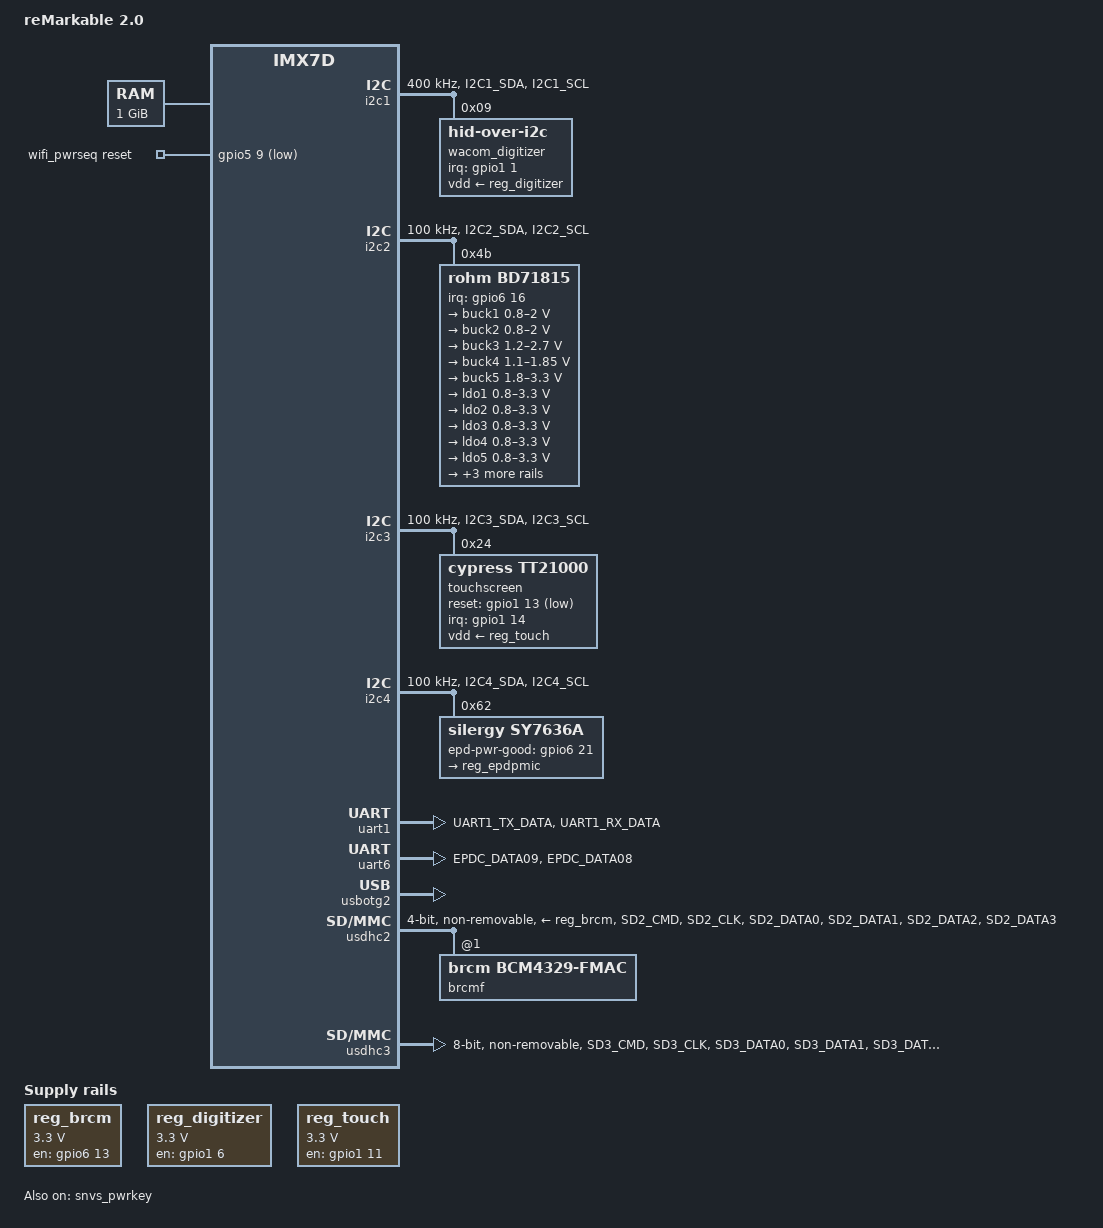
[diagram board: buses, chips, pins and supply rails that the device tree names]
// SPDX-License-Identifier: (GPL-2.0+ OR MIT)
/*
 * Copyright (C) 2015 Freescale Semiconductor, Inc.
 * Copyright (C) 2019 reMarkable AS - http://www.remarkable.com/
 *
 */

/dts-v1/;

#include "imx7d.dtsi"
#include <dt-bindings/input/linux-event-codes.h>

/ {
	model = "reMarkable 2.0";
	compatible = "remarkable,imx7d-remarkable2", "fsl,imx7d";

	chosen {
		stdout-path = &uart6;
	};

	memory@80000000 {
		device_type = "memory";
		reg = <0x80000000 0x40000000>;
	};

	thermal-zones {
		epd-thermal {
			thermal-sensors = <&sy7636a>;
			polling-delay-passive = <30000>;
			polling-delay = <30000>;

			trips {
				trip0 {
					temperature = <49000>;
					hysteresis = <2000>;
					type = "passive";
				};

				trip1 {
					temperature = <50000>;
					hysteresis = <2000>;
					type = "critical";
				};
			};
		};
	};

	reg_brcm: regulator-brcm {
		compatible = "regulator-fixed";
		regulator-name = "brcm_reg";
		regulator-min-microvolt = <3300000>;
		regulator-max-microvolt = <3300000>;
		pinctrl-names = "default";
		pinctrl-0 = <&pinctrl_brcm_reg>;
		gpio = <&gpio6 13 GPIO_ACTIVE_HIGH>;
		enable-active-high;
		startup-delay-us = <150>;
	};

	reg_digitizer: regulator-digitizer {
		compatible = "regulator-fixed";
		regulator-name = "VDD_3V3_DIGITIZER";
		regulator-min-microvolt = <3300000>;
		regulator-max-microvolt = <3300000>;
		pinctrl-names = "default", "sleep";
		pinctrl-0 = <&pinctrl_digitizer_reg>;
		pinctrl-1 = <&pinctrl_digitizer_reg>;
		gpio = <&gpio1 6 GPIO_ACTIVE_HIGH>;
		enable-active-high;
		startup-delay-us = <100000>; /* 100 ms */
	};

	reg_touch: regulator-touch {
		compatible = "regulator-fixed";
		regulator-name = "VDD_3V3_TOUCH";
		regulator-min-microvolt = <3300000>;
		regulator-max-microvolt = <3300000>;
		pinctrl-names = "default";
		pinctrl-0 = <&pinctrl_touch_reg>;
		gpio = <&gpio1 11 GPIO_ACTIVE_HIGH>;
		enable-active-high;
	};

	wifi_pwrseq: wifi_pwrseq {
		compatible = "mmc-pwrseq-simple";
		pinctrl-names = "default";
		pinctrl-0 = <&pinctrl_wifi>;
		reset-gpios = <&gpio5 9 GPIO_ACTIVE_LOW>;
		clocks = <&clks IMX7D_CLKO2_ROOT_DIV>;
		clock-names = "ext_clock";
	};
};

&cpu0 {
	cpu-supply = <&buck1>;
};

&clks {
	assigned-clocks = <&clks IMX7D_CLKO2_ROOT_SRC>,
			  <&clks IMX7D_CLKO2_ROOT_DIV>;
	assigned-clock-parents = <&clks IMX7D_CKIL>;
	assigned-clock-rates = <0>, <32768>;
};

&i2c1 {
	clock-frequency = <400000>;
	pinctrl-names = "default";
	pinctrl-0 = <&pinctrl_i2c1>;
	status = "okay";

	wacom_digitizer: digitizer@9 {
		compatible = "hid-over-i2c";
		reg = <0x09>;
		hid-descr-addr = <0x01>;
		pinctrl-names = "default";
		pinctrl-0 = <&pinctrl_wacom>;
		interrupt-parent = <&gpio1>;
		interrupts = <1 IRQ_TYPE_LEVEL_LOW>;
		touchscreen-inverted-x;
		touchscreen-inverted-y;
		vdd-supply = <&reg_digitizer>;
	};
};

&i2c2 {
	clock-frequency = <100000>;
	pinctrl-names = "default";
	pinctrl-0 = <&pinctrl_i2c2>;
	status = "okay";

	bd71815: pmic@4b {
		compatible = "rohm,bd71815";
		reg = <0x4b>;
		pinctrl-names = "default";
		pinctrl-0 = <&pinctrl_bd71815>;
		interrupt-parent = <&gpio6>; /* PMIC_INT_B GPIO6_IO16 */
		interrupts = <16 IRQ_TYPE_LEVEL_LOW>;
		gpio-controller;
		clocks = <&clks IMX7D_CLKO2_ROOT_SRC>;
		clock-output-names = "bd71815-32k-out";
		#clock-cells = <0>;
		#gpio-cells = <2>;

		regulators {
			buck1: buck1 {
				regulator-name = "buck1";
				regulator-min-microvolt = <800000>;
				regulator-max-microvolt = <2000000>;
				regulator-boot-on;
				regulator-always-on;
				regulator-ramp-delay = <1250>;
			};

			buck2: buck2 {
				regulator-name = "buck2";
				regulator-min-microvolt = <800000>;
				regulator-max-microvolt = <2000000>;
				regulator-boot-on;
				regulator-always-on;
				regulator-ramp-delay = <1250>;
			};

			buck3: buck3 {
				regulator-name = "buck3";
				regulator-min-microvolt = <1200000>;
				regulator-max-microvolt = <2700000>;
				regulator-boot-on;
				regulator-always-on;
			};

			buck4: buck4 {
				regulator-name = "buck4";
				regulator-min-microvolt = <1100000>;
				regulator-max-microvolt = <1850000>;
				regulator-boot-on;
				regulator-always-on;
			};

			buck5: buck5 {
				regulator-name = "buck5";
				regulator-min-microvolt = <1800000>;
				regulator-max-microvolt = <3300000>;
				regulator-boot-on;
				regulator-always-on;
			};

			ldo1: ldo1 {
				regulator-name = "ldo1";
				regulator-min-microvolt = <800000>;
				regulator-max-microvolt = <3300000>;
				regulator-boot-on;
				regulator-always-on;
			};

			ldo2: ldo2 {
				regulator-name = "ldo2";
				regulator-min-microvolt = <800000>;
				regulator-max-microvolt = <3300000>;
				regulator-boot-on;
				regulator-always-on;
			};

			ldo3: ldo3 {
				regulator-name = "ldo3";
				regulator-min-microvolt = <800000>;
				regulator-max-microvolt = <3300000>;
				regulator-boot-on;
				regulator-always-on;
			};

			ldo4: ldo4 {
				regulator-name = "ldo4";
				regulator-min-microvolt = <800000>;
				regulator-max-microvolt = <3300000>;
				regulator-boot-on;
				regulator-always-on;
			};

			ldo5: ldo5 {
				regulator-name = "ldo5";
				regulator-min-microvolt = <800000>;
				regulator-max-microvolt = <3300000>;
				regulator-boot-on;
				regulator-always-on;
			};

			ldo6: ldodvref {
				regulator-name = "ldodvref";
				regulator-boot-on;
				regulator-always-on;
			};

			ldo7: ldolpsr {
				regulator-name = "ldolpsr";
				regulator-boot-on;
				regulator-always-on;
			};

			boost: wled {
				regulator-name = "wled";
				regulator-min-microamp = <10>;
				regulator-max-microamp = <25000>;
				regulator-boot-on;
				regulator-always-on;
			};
		};
	};
};

&i2c3 {
	clock-frequency = <100000>;
	pinctrl-names = "default";
	pinctrl-0 = <&pinctrl_i2c3>;
	status = "okay";

	touchscreen@24 {
		compatible = "cypress,tt21000";
		reg = <0x24>;
		pinctrl-names = "default";
		pinctrl-0 = <&pinctrl_touch>;
		interrupt-parent = <&gpio1>;
		interrupts = <14 IRQ_TYPE_EDGE_FALLING>;
		reset-gpios = <&gpio1 13 GPIO_ACTIVE_LOW>;
		vdd-supply = <&reg_touch>;
		touchscreen-size-x = <880>;
		touchscreen-size-y = <1280>;
		#address-cells = <1>;
		#size-cells = <0>;

		button@0 {
			reg = <0>;
			linux,keycodes = <KEY_HOMEPAGE>;
		};

		button@1 {
			reg = <1>;
			linux,keycodes = <KEY_MENU>;
		};

		button@2 {
			reg = <2>;
			linux,keycodes = <KEY_BACK>;
		};

		button@3 {
			reg = <3>;
			linux,keycodes = <KEY_SEARCH>;
		};

		button@4 {
			reg = <4>;
			linux,keycodes = <KEY_VOLUMEDOWN>;
		};

		button@5 {
			reg = <5>;
			linux,keycodes = <KEY_VOLUMEUP>;
		};

		button@6 {
			reg = <6>;
			linux,keycodes = <KEY_CAMERA>;
		};

		button@7 {
			reg = <7>;
			linux,keycodes = <KEY_POWER>;
		};
	};
};

&i2c4 {
	clock-frequency = <100000>;
	pinctrl-names = "default", "sleep";
	pinctrl-0 = <&pinctrl_i2c4>;
	pinctrl-1 = <&pinctrl_i2c4>;
	status = "okay";

	sy7636a: pmic@62 {
		compatible = "silergy,sy7636a";
		reg = <0x62>;
		pinctrl-names = "default";
		pinctrl-0 = <&pinctrl_epdpmic>;
		#thermal-sensor-cells = <0>;
		epd-pwr-good-gpios = <&gpio6 21 GPIO_ACTIVE_HIGH>;

		regulators {
			reg_epdpmic: vcom {
				regulator-name = "vcom";
				regulator-boot-on;
			};
		};
	};
};

&snvs_pwrkey {
	status = "okay";
};

&uart1 {
	pinctrl-names = "default";
	pinctrl-0 = <&pinctrl_uart1>;
	assigned-clocks = <&clks IMX7D_UART1_ROOT_SRC>;
	assigned-clock-parents = <&clks IMX7D_OSC_24M_CLK>;
	status = "okay";
};

&uart6 {
	pinctrl-names = "default";
	pinctrl-0 = <&pinctrl_uart6>;
	assigned-clocks = <&clks IMX7D_UART6_ROOT_SRC>;
	assigned-clock-parents = <&clks IMX7D_OSC_24M_CLK>;
	status = "okay";
};

&usbotg2 {
	srp-disable;
	hnp-disable;
	status = "okay";
};

&usdhc2 {
	#address-cells = <1>;
	#size-cells = <0>;
	pinctrl-names = "default", "state_100mhz", "state_200mhz", "sleep";
	pinctrl-0 = <&pinctrl_usdhc2>;
	pinctrl-1 = <&pinctrl_usdhc2_100mhz>;
	pinctrl-2 = <&pinctrl_usdhc2_200mhz>;
	mmc-pwrseq = <&wifi_pwrseq>;
	vmmc-supply = <&reg_brcm>;
	bus-width = <4>;
	non-removable;
	keep-power-in-suspend;
	cap-power-off-card;
	status = "okay";

	brcmf: wifi@1 {
		reg = <1>;
		compatible = "brcm,bcm4329-fmac";
	};
};

&usdhc3 {
	pinctrl-names = "default", "state_100mhz", "state_200mhz", "sleep";
	pinctrl-0 = <&pinctrl_usdhc3>;
	pinctrl-1 = <&pinctrl_usdhc3_100mhz>;
	pinctrl-2 = <&pinctrl_usdhc3_200mhz>;
	pinctrl-3 = <&pinctrl_usdhc3>;
	assigned-clocks = <&clks IMX7D_USDHC3_ROOT_CLK>;
	assigned-clock-rates = <400000000>;
	bus-width = <8>;
	non-removable;
	status = "okay";
};

&wdog1 {
	pinctrl-names = "default";
	pinctrl-0 = <&pinctrl_wdog>;
	fsl,ext-reset-output;
};

&iomuxc_lpsr {
	pinctrl_digitizer_reg: digitizerreggrp {
		fsl,pins = <
			/* DIGITIZER_PWR_EN */
			MX7D_PAD_LPSR_GPIO1_IO06__GPIO1_IO6	0x14
		>;
	};

	pinctrl_wacom: wacomgrp {
		fsl,pins = <
			/*MX7D_PAD_LPSR_GPIO1_IO05__GPIO1_IO5	0x00000014 FWE */
			MX7D_PAD_LPSR_GPIO1_IO04__GPIO1_IO4	0x00000074 /* PDCTB */
			MX7D_PAD_LPSR_GPIO1_IO01__GPIO1_IO1	0x00000034 /* WACOM INT */
			/*MX7D_PAD_LPSR_GPIO1_IO06__GPIO1_IO6	0x00000014 WACOM PWR ENABLE */
			/*MX7D_PAD_LPSR_GPIO1_IO00__GPIO1_IO0	0x00000074 WACOM RESET */
		>;
	};
};

&iomuxc {
	pinctrl_bd71815: bd71815grp {
		fsl,pins = <
			MX7D_PAD_SAI1_RX_SYNC__GPIO6_IO16	0x59
		>;
	};

	pinctrl_brcm_reg: brcmreggrp {
		fsl,pins = <
			/* WIFI_PWR_EN */
			MX7D_PAD_SAI1_TX_BCLK__GPIO6_IO13	0x14
		>;
	};

	pinctrl_epdpmic: epdpmicgrp {
		fsl,pins = <
			MX7D_PAD_SAI2_RX_DATA__GPIO6_IO21	0x00000074
			MX7D_PAD_ENET1_RGMII_TXC__GPIO7_IO11	0x00000014
		>;
	};

	pinctrl_touch: touchgrp {
		fsl,pins = <
			/* CYTTSP interrupt */
			MX7D_PAD_GPIO1_IO14__GPIO1_IO14		0x54
			/* CYTTSP reset */
			MX7D_PAD_GPIO1_IO13__GPIO1_IO13		0x04
		>;
	};

	pinctrl_i2c1: i2c1grp {
		fsl,pins = <
			MX7D_PAD_I2C1_SDA__I2C1_SDA		0x4000007f
			MX7D_PAD_I2C1_SCL__I2C1_SCL		0x4000007f
		>;
	};

	pinctrl_i2c2: i2c2grp {
		fsl,pins = <
			MX7D_PAD_I2C2_SDA__I2C2_SDA		0x4000007f
			MX7D_PAD_I2C2_SCL__I2C2_SCL		0x4000007f
		>;
	};

	pinctrl_i2c3: i2c3grp {
		fsl,pins = <
			MX7D_PAD_I2C3_SDA__I2C3_SDA		0x4000007f
			MX7D_PAD_I2C3_SCL__I2C3_SCL		0x4000007f
		>;
	};

	pinctrl_i2c4: i2c4grp {
		fsl,pins = <
			MX7D_PAD_I2C4_SDA__I2C4_SDA		0x4000007f
			MX7D_PAD_I2C4_SCL__I2C4_SCL		0x4000007f
		>;
	};

	pinctrl_touch_reg: touchreggrp {
		fsl,pins = <
			/* TOUCH_PWR_EN */
			MX7D_PAD_GPIO1_IO11__GPIO1_IO11		0x14
		>;
	};

	pinctrl_uart1: uart1grp {
		fsl,pins = <
			MX7D_PAD_UART1_TX_DATA__UART1_DCE_TX	0x79
			MX7D_PAD_UART1_RX_DATA__UART1_DCE_RX	0x79
		>;
	};

	pinctrl_uart6: uart6grp {
		fsl,pins = <
			MX7D_PAD_EPDC_DATA09__UART6_DCE_TX		0x79
			MX7D_PAD_EPDC_DATA08__UART6_DCE_RX		0x79
		>;
	};

	pinctrl_usdhc2: usdhc2grp {
		fsl,pins = <
			MX7D_PAD_SD2_CMD__SD2_CMD		0x59
			MX7D_PAD_SD2_CLK__SD2_CLK		0x19
			MX7D_PAD_SD2_DATA0__SD2_DATA0		0x59
			MX7D_PAD_SD2_DATA1__SD2_DATA1		0x59
			MX7D_PAD_SD2_DATA2__SD2_DATA2		0x59
			MX7D_PAD_SD2_DATA3__SD2_DATA3		0x59
		>;
	};

	pinctrl_usdhc2_100mhz: usdhc2-100mhz-grp {
		fsl,pins = <
			MX7D_PAD_SD2_CMD__SD2_CMD		0x5a
			MX7D_PAD_SD2_CLK__SD2_CLK		0x1a
			MX7D_PAD_SD2_DATA0__SD2_DATA0		0x5a
			MX7D_PAD_SD2_DATA1__SD2_DATA1		0x5a
			MX7D_PAD_SD2_DATA2__SD2_DATA2		0x5a
			MX7D_PAD_SD2_DATA3__SD2_DATA3		0x5a
		>;
	};

	pinctrl_usdhc2_200mhz: usdhc2-200mhz-grp {
		fsl,pins = <
			MX7D_PAD_SD2_CMD__SD2_CMD		0x5b
			MX7D_PAD_SD2_CLK__SD2_CLK		0x1b
			MX7D_PAD_SD2_DATA0__SD2_DATA0		0x5b
			MX7D_PAD_SD2_DATA1__SD2_DATA1		0x5b
			MX7D_PAD_SD2_DATA2__SD2_DATA2		0x5b
			MX7D_PAD_SD2_DATA3__SD2_DATA3		0x5b
		>;
	};

	pinctrl_usdhc3: usdhc3grp {
		fsl,pins = <
			MX7D_PAD_SD3_CMD__SD3_CMD		0x59
			MX7D_PAD_SD3_CLK__SD3_CLK		0x19
			MX7D_PAD_SD3_DATA0__SD3_DATA0		0x59
			MX7D_PAD_SD3_DATA1__SD3_DATA1		0x59
			MX7D_PAD_SD3_DATA2__SD3_DATA2		0x59
			MX7D_PAD_SD3_DATA3__SD3_DATA3		0x59
			MX7D_PAD_SD3_DATA4__SD3_DATA4		0x59
			MX7D_PAD_SD3_DATA5__SD3_DATA5		0x59
			MX7D_PAD_SD3_DATA6__SD3_DATA6		0x59
			MX7D_PAD_SD3_DATA7__SD3_DATA7		0x59
			MX7D_PAD_SD3_STROBE__SD3_STROBE		0x19
		>;
	};

	pinctrl_usdhc3_100mhz: usdhc3-100mhz-grp {
		fsl,pins = <
			MX7D_PAD_SD3_CMD__SD3_CMD		0x5a
			MX7D_PAD_SD3_CLK__SD3_CLK		0x1a
			MX7D_PAD_SD3_DATA0__SD3_DATA0		0x5a
			MX7D_PAD_SD3_DATA1__SD3_DATA1		0x5a
			MX7D_PAD_SD3_DATA2__SD3_DATA2		0x5a
			MX7D_PAD_SD3_DATA3__SD3_DATA3		0x5a
			MX7D_PAD_SD3_DATA4__SD3_DATA4		0x5a
			MX7D_PAD_SD3_DATA5__SD3_DATA5		0x5a
			MX7D_PAD_SD3_DATA6__SD3_DATA6		0x5a
			MX7D_PAD_SD3_DATA7__SD3_DATA7		0x5a
			MX7D_PAD_SD3_STROBE__SD3_STROBE		0x1a
		>;
	};

	pinctrl_usdhc3_200mhz: usdhc3-200mhz-grp {
		fsl,pins = <
			MX7D_PAD_SD3_CMD__SD3_CMD		0x5b
			MX7D_PAD_SD3_CLK__SD3_CLK		0x1b
			MX7D_PAD_SD3_DATA0__SD3_DATA0		0x5b
			MX7D_PAD_SD3_DATA1__SD3_DATA1		0x5b
			MX7D_PAD_SD3_DATA2__SD3_DATA2		0x5b
			MX7D_PAD_SD3_DATA3__SD3_DATA3		0x5b
			MX7D_PAD_SD3_DATA4__SD3_DATA4		0x5b
			MX7D_PAD_SD3_DATA5__SD3_DATA5		0x5b
			MX7D_PAD_SD3_DATA6__SD3_DATA6		0x5b
			MX7D_PAD_SD3_DATA7__SD3_DATA7		0x5b
			MX7D_PAD_SD3_STROBE__SD3_STROBE		0x1b
		>;
	};

	pinctrl_wdog: wdoggrp {
		fsl,pins = <
			MX7D_PAD_ENET1_COL__WDOG1_WDOG_ANY	0x74
		>;
	};

	pinctrl_wifi: wifigrp {
		fsl,pins = <
			/* WiFi Reg On */
			MX7D_PAD_SD2_CD_B__GPIO5_IO9		0x00000014
			/* WiFi Sleep 32k */
			MX7D_PAD_SD1_WP__CCM_CLKO2		0x00000014
		>;
	};
};
